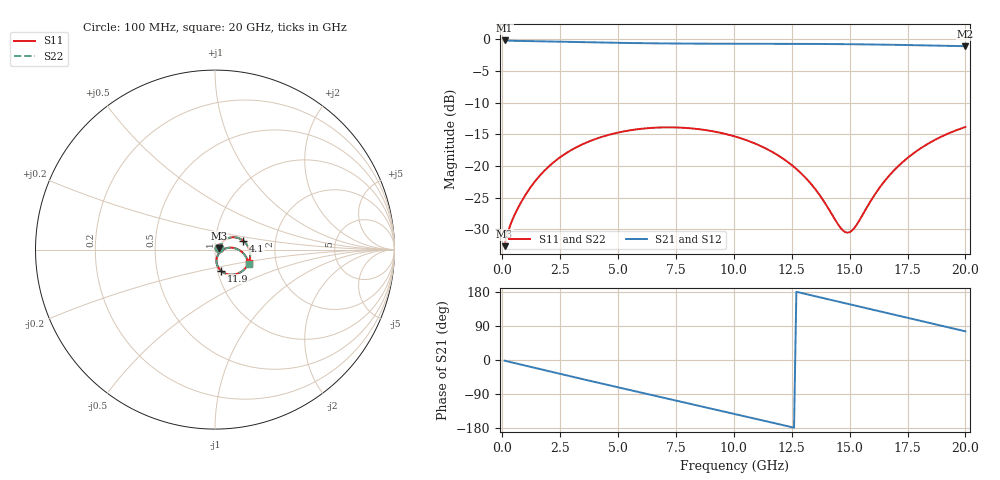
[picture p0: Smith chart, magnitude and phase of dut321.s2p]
! Touchstone file exported from HFSS 2026.1.0
!  File:  C:/ffzhzh/LocalFiles/Ansys_Project_Files/temp_train_TSV_RDL_321_1783031348_46388.aedt
!  Generated:  06:42:12 AM Jul  3, 2026
!  Design:  TSV_RDL
!  Project:  temp_train_TSV_RDL_321_1783031348_46388
! Variables:
!  h_bsmrdl = 2.34um
!  h_ox = 20um
!  h_rdl = 5um
!  h_sub = 69.89um
!  h_tmrdl = 4.43um
!  h_tsv = 69.89um
!  h_via = 3um
!  l_bsmrdl = 325.3um
!  l_sub = 4781.72um
!  l_tmrdl = 817.42um
!  m_sub = 200um
!  pitch = 34.11um
!  r_tsv = 4.7um
!  s_tmrdl = 10um
!  w_bsmrdl = 16.44um
!  w_sub = 500um
!  w_tmrdl = 28.94um
!  x_tsv_center1 = 831.89um
!  x_tsv_center2 = 1173.63um
!  x_tsv_center3 = 2019.99um
!  x_tsv_center4 = 2361.73um
!  x_tsv_center5 = 3208.09um
!  x_tsv_center6 = 3549.83um
# GHz S MA R 50.000000
! Terminal data exported
! Port[1] = TM_RDL1_1_T1
! Port[2] = TM_RDL5_1_T1
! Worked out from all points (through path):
!   200 points, 100 MHz to 20 GHz, reference 50 ohm
!   highest |S21| = -0.19 dB at 100 MHz (marker M1); lowest = -1.1 dB at 20 GHz (marker M2)
!   group delay of S21, straight-line fit = 39.3 ps
!   lowest |S11| = -32.7 dB at 100 MHz (marker M3), VSWR 1.05, Z = 52.3 + j0.751 ohm
!   |S11| at or under -10 dB: start of sweep to end of sweep
!   |S22| runs from -32.7 to -13.8 dB; largest |S21 - S12| = 5.1e-14
!   S11 on the Smith chart (normalised r, x): 100 MHz: 1.05, +0.02; 4.1 GHz: 1.37, +0.14; 11.9 GHz: 1.04, -0.25; 20 GHz: 1.44, -0.23
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0.1  0.02328 18.0  0.978 -1.6  0.978 -1.6  0.02328 18.0
! Gamma 0 0 0 0
! Port Impedance 50 0 50 0
0.3  0.03227 32.2  0.974 -4.7  0.974 -4.7  0.03227 32.2
0.5  0.04 37.7  0.9713 -7.6  0.9713 -7.6  0.04 37.7
1.4  0.07508 44.0  0.9651 -20.7  0.9651 -20.7  0.07508 44.0
2.3  0.11 37.8  0.9583 -33.8  0.9583 -33.8  0.11 37.8
3.5  0.1493 24.6  0.9482 -50.9  0.9482 -50.9  0.1493 24.6
4.1  0.165 17.4  0.9434 -59.4  0.9434 -59.4  0.165 17.4
5.5  0.1909 0.1  0.9337 -79.1  0.9337 -79.1  0.1909 0.1
6.8  0.2012 -16.0  0.9273 -97.2  0.9273 -97.2  0.2011 -16.0
8.4  0.1959 -35.5  0.9228 -119.5  0.9228 -119.5  0.1959 -35.5
10.1  0.1698 -55.6  0.921 -143.3  0.921 -143.3  0.1697 -55.5
11  0.148 -65.6  0.9207 -156.0  0.9207 -156.0  0.148 -65.5
11.9  0.1215 -74.6  0.9202 -168.7  0.9202 -168.7  0.1215 -74.5
12.7  0.09472 -80.8  0.9195 179.9  0.9195 179.9  0.09475 -80.7
13.4  0.06981 -83.0  0.9184 169.9  0.9184 169.9  0.06989 -82.8
14.6  0.03263 -58.2  0.9153 152.7  0.9153 152.7  0.03305 -57.8
14.9  0.02976 -38.8  0.9142 148.4  0.9142 148.4  0.03028 -38.6
15.2  0.03232 -18.9  0.913 144.1  0.913 144.1  0.03287 -19.2
16.1  0.05994 6.6  0.9086 131.2  0.9086 131.2  0.06034 6.0
16.7  0.08352 7.6  0.9051 122.6  0.9051 122.6  0.08385 7.1
18.3  0.1465 -4.0  0.894 99.8  0.894 99.8  0.1467 -4.3
20  0.2029 -22.4  0.8811 75.7  0.8811 75.7  0.203 -22.8
